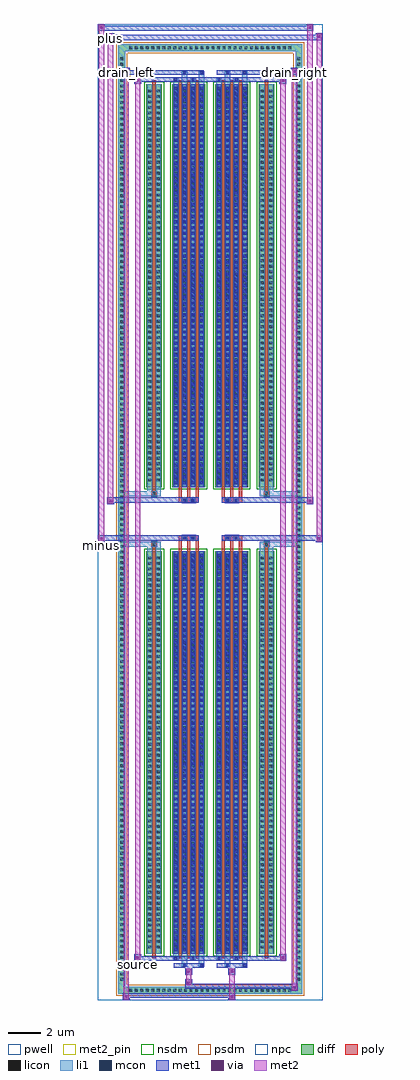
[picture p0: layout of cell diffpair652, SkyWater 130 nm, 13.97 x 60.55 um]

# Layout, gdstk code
import gdstk
lib = gdstk.Library(unit=1e-6, precision=5e-09)
def R(c, l, rs):  # rectangles x0, y0, x1, y1
    for r in rs: c.add(gdstk.rectangle(r[:2], r[2:], *l))
def A(c, l, x, y, w, h, nx, ny, dx, dy):  # array of equal rectangles
    R(c, l, [(x+i*dx, y+j*dy, x+i*dx+w, y+j*dy+h) for i in range(nx) for j in range(ny)])
def P(c, l, *ps):  # polygons
    for p in ps: c.add(gdstk.Polygon(p, *l))
pwell = (64, 44)
diff = (65, 20)
poly = (66, 20)
licon = (66, 44)
li1 = (67, 20)
mcon = (67, 44)
met1 = (68, 20)
via = (68, 44)
met2_pin = (69, 16)
met2 = (69, 20)
nsdm = (93, 44)
psdm = (94, 20)
npc = (95, 20)

diffpair652 = lib.new_cell('diffpair652')
R(diffpair652, pwell, [(-6.97,-29.84,6.97,30.71), (-4.29,-28.03,-0.01,-0.805), (0.01,-28.03,4.29,-0.805), (-4.29,0.805,-0.01,28.03), (0.01,0.805,4.29,28.03)])
A(diffpair652, diff, -5.135, -29.44, 0.41, 0.41, 30, 2, 0.34, 58.47)
A(diffpair652, diff, -5.7, -28.765, 0.41, 0.41, 1, 169, 0, 0.34)
A(diffpair652, diff, 5.29, -28.765, 0.41, 0.41, 1, 169, 0, 0.34)
R(diffpair652, diff, [(-5.135,-29.44,5.135,-29.03), (-5.7,-28.765,-5.29,28.765), (5.29,-28.765,5.7,28.765), (-3.98,-26.985,-3,-1.985), (-2.36,-26.985,-0.32,-1.985), (0.32,-26.985,2.36,-1.985), (3,-26.985,3.98,-1.985), (-3.98,1.985,-3,26.985), (-2.36,1.985,-0.32,26.985), (0.32,1.985,2.36,26.985), (3,1.985,3.98,26.985), (-5.135,29.03,5.135,29.44)])
P(diffpair652, diff, [(5.7,29.44),(-5.7,29.44),(-5.7,-29.03),(-5.29,-29.03),(-5.29,29.03),(5.29,29.03),(5.29,-29.03),(-5.29,-29.03),(-5.7,-29.03),(-5.7,-29.44),(5.7,-29.44)])
A(diffpair652, poly, -1.97, -27.235, 0.2, 25.5, 3, 2, 0.53, 28.97)
A(diffpair652, poly, 0.71, -27.235, 0.2, 25.5, 3, 2, 0.53, 28.97)
A(diffpair652, poly, -1.97, -1.735, 0.2, 0.4, 3, 2, 0.53, 3.07)
A(diffpair652, poly, 0.71, -1.735, 0.2, 0.4, 3, 2, 0.53, 3.07)
R(diffpair652, poly, [(-3.59,-27.235,-3.39,-1.735), (3.39,-27.235,3.59,-1.735), (-3.655,-1.735,-3.325,-1.405), (-3.655,-1.735,-3.325,-1.405), (3.325,-1.735,3.655,-1.405), (3.325,-1.735,3.655,-1.405), (-1.97,-1.335,-0.71,-1.005), (-1.755,-1.335,-1.425,-1.005), (-1.255,-1.335,-0.925,-1.005), (0.71,-1.335,1.97,-1.005), (0.925,-1.335,1.255,-1.005), (1.425,-1.335,1.755,-1.005), (-1.97,1.005,-0.71,1.335), (-1.755,1.005,-1.425,1.335), (-1.255,1.005,-0.925,1.335), (0.71,1.005,1.97,1.335), (0.925,1.005,1.255,1.335), (1.425,1.005,1.755,1.335), (-3.655,1.405,-3.325,1.735), (-3.655,1.405,-3.325,1.735), (3.325,1.405,3.655,1.735), (3.325,1.405,3.655,1.735), (-3.59,1.735,-3.39,27.235), (3.39,1.735,3.59,27.235)])
A(diffpair652, licon, -5.015, -29.32, 0.17, 0.17, 30, 2, 0.34, 58.47)
A(diffpair652, licon, -5.58, -28.645, 0.17, 0.17, 1, 169, 0, 0.34)
A(diffpair652, licon, 5.41, -28.645, 0.17, 0.17, 1, 169, 0, 0.34)
A(diffpair652, licon, -3.84, -26.64, 0.17, 0.17, 1, 72, 0, 0.34)
A(diffpair652, licon, -3.31, -26.64, 0.17, 0.17, 1, 72, 0, 0.34)
A(diffpair652, licon, -2.22, -26.64, 0.17, 0.17, 4, 72, 0.53, 0.34)
A(diffpair652, licon, 0.46, -26.64, 0.17, 0.17, 4, 72, 0.53, 0.34)
A(diffpair652, licon, 3.14, -26.64, 0.17, 0.17, 1, 72, 0, 0.34)
A(diffpair652, licon, 3.67, -26.64, 0.17, 0.17, 1, 72, 0, 0.34)
A(diffpair652, licon, -3.84, 2.33, 0.17, 0.17, 1, 72, 0, 0.34)
A(diffpair652, licon, -3.31, 2.33, 0.17, 0.17, 1, 72, 0, 0.34)
A(diffpair652, licon, -2.22, 2.33, 0.17, 0.17, 4, 72, 0.53, 0.34)
A(diffpair652, licon, 0.46, 2.33, 0.17, 0.17, 4, 72, 0.53, 0.34)
A(diffpair652, licon, 3.14, 2.33, 0.17, 0.17, 1, 72, 0, 0.34)
A(diffpair652, licon, 3.67, 2.33, 0.17, 0.17, 1, 72, 0, 0.34)
R(diffpair652, licon, [(-3.575,-1.655,-3.405,-1.485), (3.405,-1.655,3.575,-1.485), (-1.675,-1.255,-1.505,-1.085), (-1.175,-1.255,-1.005,-1.085), (1.005,-1.255,1.175,-1.085), (1.505,-1.255,1.675,-1.085), (-1.675,1.085,-1.505,1.255), (-1.175,1.085,-1.005,1.255), (1.005,1.085,1.175,1.255), (1.505,1.085,1.675,1.255), (-3.575,1.485,-3.405,1.655), (3.405,1.485,3.575,1.655)])
A(diffpair652, li1, -5.095, -29.4, 0.33, 0.33, 30, 2, 0.34, 58.47)
A(diffpair652, li1, -5.66, -28.725, 0.33, 0.33, 1, 169, 0, 0.34)
A(diffpair652, li1, 5.33, -28.725, 0.33, 0.33, 1, 169, 0, 0.34)
A(diffpair652, li1, -2.3, -26.985, 0.33, 25, 4, 2, 0.53, 28.97)
A(diffpair652, li1, 0.38, -26.985, 0.33, 25, 4, 2, 0.53, 28.97)
A(diffpair652, li1, -2.22, -26.81, 0.17, 0.17, 4, 69, 0.53, 0.36)
A(diffpair652, li1, -2.22, -26.81, 0.17, 24.65, 4, 2, 0.53, 28.97)
A(diffpair652, li1, 0.46, -26.81, 0.17, 0.17, 4, 69, 0.53, 0.36)
A(diffpair652, li1, 0.46, -26.81, 0.17, 24.65, 4, 2, 0.53, 28.97)
A(diffpair652, li1, -3.92, -26.72, 0.33, 0.33, 1, 72, 0, 0.34)
A(diffpair652, li1, -3.39, -26.72, 0.33, 0.33, 1, 72, 0, 0.34)
A(diffpair652, li1, -2.3, -26.72, 0.33, 0.33, 4, 72, 0.53, 0.34)
A(diffpair652, li1, 0.38, -26.72, 0.33, 0.33, 4, 72, 0.53, 0.34)
A(diffpair652, li1, 3.06, -26.72, 0.33, 0.33, 1, 72, 0, 0.34)
A(diffpair652, li1, 3.59, -26.72, 0.33, 0.33, 1, 72, 0, 0.34)
A(diffpair652, li1, -2.22, 2.16, 0.17, 0.17, 4, 69, 0.53, 0.36)
A(diffpair652, li1, 0.46, 2.16, 0.17, 0.17, 4, 69, 0.53, 0.36)
A(diffpair652, li1, -3.92, 2.25, 0.33, 0.33, 1, 72, 0, 0.34)
A(diffpair652, li1, -3.39, 2.25, 0.33, 0.33, 1, 72, 0, 0.34)
A(diffpair652, li1, -2.3, 2.25, 0.33, 0.33, 4, 72, 0.53, 0.34)
A(diffpair652, li1, 0.38, 2.25, 0.33, 0.33, 4, 72, 0.53, 0.34)
A(diffpair652, li1, 3.06, 2.25, 0.33, 0.33, 1, 72, 0, 0.34)
A(diffpair652, li1, 3.59, 2.25, 0.33, 0.33, 1, 72, 0, 0.34)
R(diffpair652, li1, [(-5.7,-29.44,-5.29,-29.03), (-5.7,-29.44,-5.29,-29.03), (-5.29,-29.44,5.29,-29.03), (5.29,-29.44,5.7,-29.03), (5.29,-29.44,5.7,-29.03), (-5.7,-29.03,-5.29,29.03), (5.29,-29.03,5.7,29.03), (-1.77,-27.79,-1.44,-26.985), (-1.69,-27.79,-1.52,-27.62), (-0.71,-27.79,-0.38,-26.985), (-0.63,-27.79,-0.46,-27.62), (0.91,-27.79,1.24,-26.985), (0.99,-27.79,1.16,-27.62), (1.97,-27.79,2.3,-26.985), (2.05,-27.79,2.22,-27.62), (-2.3,-27.36,-1.97,-26.985), (-2.22,-27.36,-2.05,-27.19), (-1.24,-27.36,-0.91,-26.985), (-1.16,-27.36,-0.99,-27.19), (0.38,-27.36,0.71,-26.985), (0.46,-27.36,0.63,-27.19), (1.44,-27.36,1.77,-26.985), (1.52,-27.36,1.69,-27.19), (-3.92,-26.985,-3.59,-1.985), (-3.39,-26.985,-3.06,-1.985), (3.06,-26.985,3.39,-1.985), (3.59,-26.985,3.92,-1.985), (-3.92,-1.985,-3.59,-1.405), (-3.39,-1.985,-3.06,-1.405), (3.06,-1.985,3.39,-1.405), (3.59,-1.985,3.92,-1.405), (-5.7,-1.735,-3.655,-1.405), (-3.92,-1.735,-3.655,-1.405), (-3.655,-1.735,-3.325,-1.405), (-3.325,-1.735,-3.06,-1.405), (3.06,-1.735,3.325,-1.405), (3.325,-1.735,3.655,-1.405), (3.325,-1.735,5.7,-1.405), (3.655,-1.735,3.92,-1.405), (-1.755,-1.335,-1.425,-1.005), (-1.255,-1.335,-0.925,-1.005), (0.925,-1.335,1.255,-1.005), (1.425,-1.335,1.755,-1.005), (-1.755,1.005,-1.425,1.335), (-1.255,1.005,-0.925,1.335), (0.925,1.005,1.255,1.335), (1.425,1.005,1.755,1.335), (-5.7,1.405,-3.655,1.735), (-3.92,1.405,-3.655,1.735), (-3.92,1.405,-3.59,1.985), (-3.655,1.405,-3.325,1.735), (-3.39,1.405,-3.06,1.985), (-3.325,1.405,-3.06,1.735), (3.06,1.405,3.325,1.735), (3.06,1.405,3.39,1.985), (3.325,1.405,3.655,1.735), (3.325,1.405,5.7,1.735), (3.59,1.405,3.92,1.985), (3.655,1.405,3.92,1.735), (-3.92,1.985,-3.59,26.985), (-3.39,1.985,-3.06,26.985), (3.06,1.985,3.39,26.985), (3.59,1.985,3.92,26.985), (-2.3,26.985,-1.97,27.36), (-1.77,26.985,-1.44,27.79), (-1.24,26.985,-0.91,27.36), (-0.71,26.985,-0.38,27.79), (0.38,26.985,0.71,27.36), (0.91,26.985,1.24,27.79), (1.44,26.985,1.77,27.36), (1.97,26.985,2.3,27.79), (-2.22,27.19,-2.05,27.36), (-1.16,27.19,-0.99,27.36), (0.46,27.19,0.63,27.36), (1.52,27.19,1.69,27.36), (-1.69,27.62,-1.52,27.79), (-0.63,27.62,-0.46,27.79), (0.99,27.62,1.16,27.79), (2.05,27.62,2.22,27.79), (-5.7,29.03,-5.29,29.44), (-5.7,29.03,-5.29,29.44), (-5.29,29.03,5.29,29.44), (5.29,29.03,5.7,29.44), (5.29,29.03,5.7,29.44)])
A(diffpair652, mcon, -2.22, -26.81, 0.17, 0.17, 4, 69, 0.53, 0.36)
A(diffpair652, mcon, 0.46, -26.81, 0.17, 0.17, 4, 69, 0.53, 0.36)
A(diffpair652, mcon, -2.22, 2.16, 0.17, 0.17, 4, 69, 0.53, 0.36)
A(diffpair652, mcon, 0.46, 2.16, 0.17, 0.17, 4, 69, 0.53, 0.36)
R(diffpair652, mcon, [(-1.69,-27.79,-1.52,-27.62), (-0.63,-27.79,-0.46,-27.62), (0.99,-27.79,1.16,-27.62), (2.05,-27.79,2.22,-27.62), (-2.22,-27.36,-2.05,-27.19), (-1.16,-27.36,-0.99,-27.19), (0.46,-27.36,0.63,-27.19), (1.52,-27.36,1.69,-27.19), (-1.675,-1.255,-1.505,-1.085), (-1.175,-1.255,-1.005,-1.085), (1.005,-1.255,1.175,-1.085), (1.505,-1.255,1.675,-1.085), (-1.675,1.085,-1.505,1.255), (-1.175,1.085,-1.005,1.255), (1.005,1.085,1.175,1.255), (1.505,1.085,1.675,1.255), (-2.22,27.19,-2.05,27.36), (-1.16,27.19,-0.99,27.36), (0.46,27.19,0.63,27.36), (1.52,27.19,1.69,27.36), (-1.69,27.62,-1.52,27.79), (-0.63,27.62,-0.46,27.79), (0.99,27.62,1.16,27.79), (2.05,27.62,2.22,27.79)])
A(diffpair652, met1, -2.28, -26.985, 0.29, 25, 4, 2, 0.53, 28.97)
A(diffpair652, met1, 0.4, -26.985, 0.29, 25, 4, 2, 0.53, 28.97)
A(diffpair652, met1, -2.28, -26.87, 0.29, 0.29, 4, 69, 0.53, 0.36)
A(diffpair652, met1, 0.4, -26.87, 0.29, 0.29, 4, 69, 0.53, 0.36)
A(diffpair652, met1, -2.28, 2.1, 0.29, 0.29, 4, 69, 0.53, 0.36)
A(diffpair652, met1, 0.4, 2.1, 0.29, 0.29, 4, 69, 0.53, 0.36)
R(diffpair652, met1, [(-5.43,-29.84,-5,-29.41), (1.125,-29.84,1.555,-29.41), (-5.43,-29.7,1.555,-29.41), (5,-29.27,5.43,-28.84), (-1.555,-29.13,5.43,-28.84), (-1.555,-28.99,-1.125,-28.56), (-1.555,-28.28,-1.125,-27.85), (1.125,-28.28,1.555,-27.85), (-2.28,-27.85,-0.4,-27.56), (-1.75,-27.85,-1.46,-27.56), (-0.69,-27.85,-0.4,-27.56), (0.4,-27.85,2.28,-27.56), (0.93,-27.85,1.22,-27.56), (1.99,-27.85,2.28,-27.56), (-4.72,-27.42,-4.29,-26.99), (-4.72,-27.42,-2.28,-27.13), (-2.28,-27.42,-1.99,-27.13), (-2.28,-27.42,-0.4,-27.13), (-1.22,-27.42,-0.93,-27.13), (-0.4,-27.42,0.4,-27.13), (0.4,-27.42,0.69,-27.13), (0.4,-27.42,2.28,-27.13), (1.46,-27.42,1.75,-27.13), (2.28,-27.42,4.72,-27.13), (4.29,-27.42,4.72,-26.99), (-6.97,-1.435,-6.54,-1.005), (6.54,-1.435,6.97,-1.005), (-6.97,-1.335,-0.71,-1.005), (-1.97,-1.335,-0.71,-1.005), (0.71,-1.335,1.97,-1.005), (0.71,-1.335,6.97,-1.005), (-1.735,-1.315,-1.445,-1.025), (-1.235,-1.315,-0.945,-1.025), (0.945,-1.315,1.235,-1.025), (1.445,-1.315,1.735,-1.025), (-6.4,0.905,-5.97,1.335), (5.97,0.905,6.4,1.335), (-6.4,1.005,-1.97,1.335), (-1.97,1.005,-0.71,1.335), (0.71,1.005,1.97,1.335), (1.97,1.005,6.4,1.335), (-1.735,1.025,-1.445,1.315), (-1.235,1.025,-0.945,1.315), (0.945,1.025,1.235,1.315), (1.445,1.025,1.735,1.315), (-4.72,26.99,-4.29,27.42), (4.29,26.99,4.72,27.42), (-4.72,27.13,-2.28,27.42), (-2.28,27.13,-1.99,27.42), (-2.28,27.13,-0.4,27.42), (-1.22,27.13,-0.93,27.42), (-0.4,27.13,0.4,27.42), (0.4,27.13,0.69,27.42), (0.4,27.13,2.28,27.42), (1.46,27.13,1.75,27.42), (2.28,27.13,4.72,27.42), (-5.43,27.56,-5,27.99), (-5.43,27.56,-2.28,27.85), (-2.28,27.56,-0.4,27.85), (-1.75,27.56,-1.46,27.85), (-0.69,27.56,-0.4,27.85), (0.4,27.56,2.28,27.85), (0.93,27.56,1.22,27.85), (1.99,27.56,2.28,27.85), (2.28,27.56,5.43,27.85), (5,27.56,5.43,27.99), (-6.4,29.71,-5.97,30.14), (-6.4,29.71,-4.29,30.04), (-4.29,29.71,4.29,30.04), (4.29,29.71,6.97,30.04), (6.54,29.71,6.97,30.14), (-6.97,30.28,-6.54,30.71), (-6.97,30.28,-4.29,30.61), (-4.29,30.28,4.29,30.61), (4.29,30.28,6.4,30.61), (5.97,30.28,6.4,30.71)])
R(diffpair652, via, [(-5.29,-29.7,-5.14,-29.55), (1.265,-29.7,1.415,-29.55), (5.14,-29.13,5.29,-28.98), (-1.415,-28.85,-1.265,-28.7), (-1.415,-28.14,-1.265,-27.99), (1.265,-28.14,1.415,-27.99), (-4.58,-27.28,-4.43,-27.13), (4.43,-27.28,4.58,-27.13), (-6.83,-1.295,-6.68,-1.145), (6.68,-1.295,6.83,-1.145), (-6.26,1.045,-6.11,1.195), (6.11,1.045,6.26,1.195), (-4.58,27.13,-4.43,27.28), (4.43,27.13,4.58,27.28), (-5.29,27.7,-5.14,27.85), (5.14,27.7,5.29,27.85), (-6.26,29.85,-6.11,30), (6.68,29.85,6.83,30), (-6.83,30.42,-6.68,30.57), (6.11,30.42,6.26,30.57)])
R(diffpair652, met2_pin, [(-4.755,-27.87,-4.255,-27.37), (-7.005,-1.885,-6.505,-1.385), (-5.465,27.44,-4.965,27.94), (4.965,27.44,5.465,27.94), (-6.435,29.59,-5.935,30.09)])
R(diffpair652, met2, [(-5.38,-29.79,-5.05,-29.46), (-5.38,-29.79,-5.05,27.94), (1.175,-29.79,1.505,-29.46), (1.175,-29.46,1.505,-28.23), (5.05,-29.22,5.38,-28.89), (5.05,-29.22,5.38,27.94), (-1.505,-28.94,-1.175,-28.61), (-1.505,-28.61,-1.175,-28.23), (-1.505,-28.23,-1.175,-27.9), (1.175,-28.23,1.505,-27.9), (-4.67,-27.37,-4.34,-27.04), (-4.67,-27.37,-4.34,27.37), (4.34,-27.37,4.67,-27.04), (4.34,-27.37,4.67,27.37), (-6.92,-1.385,-6.59,-1.055), (-6.92,-1.385,-6.59,30.66), (6.59,-1.385,6.92,-1.055), (6.59,-1.385,6.92,30.09), (-6.35,0.955,-6.02,1.285), (-6.35,0.955,-6.02,30.09), (6.02,0.955,6.35,1.285), (6.02,0.955,6.35,30.66), (-4.67,27.04,-4.34,27.37), (4.34,27.04,4.67,27.37), (-5.38,27.61,-5.05,27.94), (5.05,27.61,5.38,27.94), (-6.35,29.76,-6.02,30.09), (6.59,29.76,6.92,30.09), (-6.92,30.33,-6.59,30.66), (6.02,30.33,6.35,30.66)])
P(diffpair652, met2, [(6.92,-1.385),(6.92,-1.385),(6.92,-1.055),(6.92,-1.055)],
  [(6.92,29.76),(6.92,29.76),(6.92,30.09),(6.92,30.09)],
  [(-6.59,-1.385),(-6.59,-1.385),(-6.59,-1.055),(-6.59,-1.055)],
  [(-6.59,30.33),(-6.59,30.33),(-6.59,30.66),(-6.59,30.66)],
  [(6.35,0.955),(6.35,0.955),(6.35,1.285),(6.35,1.285)],
  [(6.35,30.33),(6.35,30.33),(6.35,30.66),(6.35,30.66)],
  [(-6.02,0.955),(-6.02,0.955),(-6.02,1.285),(-6.02,1.285)],
  [(-6.02,29.76),(-6.02,29.76),(-6.02,30.09),(-6.02,30.09)],
  [(-5.05,-29.79),(-5.05,-29.79),(-5.05,-29.46),(-5.05,-29.46)],
  [(-5.05,27.61),(-5.05,27.61),(-5.05,27.94),(-5.05,27.94)],
  [(5.38,-29.22),(5.38,-29.22),(5.38,-28.89),(5.38,-28.89)],
  [(5.38,27.61),(5.38,27.61),(5.38,27.94),(5.38,27.94)],
  [(-4.34,-27.37),(-4.34,-27.37),(-4.34,-27.04),(-4.34,-27.04)],
  [(-4.34,27.04),(-4.34,27.04),(-4.34,27.37),(-4.34,27.37)],
  [(4.67,-27.37),(4.67,-27.37),(4.67,-27.04),(4.67,-27.04)],
  [(4.67,27.04),(4.67,27.04),(4.67,27.37),(4.67,27.37)])
R(diffpair652, nsdm, [(-4.11,-27.115,-2.87,-1.855), (-2.49,-27.115,-0.19,-1.855), (0.19,-27.115,2.49,-1.855), (2.87,-27.115,4.11,-1.855), (-4.11,1.855,-2.87,27.115), (-2.49,1.855,-0.19,27.115), (0.19,1.855,2.49,27.115), (2.87,1.855,4.11,27.115)])
P(diffpair652, psdm, [(5.83,29.57),(-5.83,29.57),(-5.83,-28.9),(-5.16,-28.9),(-5.16,28.9),(5.16,28.9),(5.16,-28.9),(-5.16,-28.9),(-5.83,-28.9),(-5.83,-29.57),(5.83,-29.57)])
R(diffpair652, npc, [(-3.675,-1.755,-3.305,-1.385), (3.305,-1.755,3.675,-1.385), (-1.775,-1.355,-1.405,-0.985), (-1.775,-1.355,-0.905,-0.985), (-1.775,-1.355,-0.905,-0.985), (-1.275,-1.355,-0.905,-0.985), (0.905,-1.355,1.275,-0.985), (0.905,-1.355,1.775,-0.985), (0.905,-1.355,1.775,-0.985), (1.405,-1.355,1.775,-0.985), (-1.775,0.985,-1.405,1.355), (-1.775,0.985,-0.905,1.355), (-1.775,0.985,-0.905,1.355), (-1.275,0.985,-0.905,1.355), (0.905,0.985,1.275,1.355), (0.905,0.985,1.775,1.355), (0.905,0.985,1.775,1.355), (1.405,0.985,1.775,1.355), (-3.675,1.385,-3.305,1.755), (3.305,1.385,3.675,1.755)])
diffpair652.add(gdstk.Label('minus', (-6.755,-1.635), layer=69, texttype=5))
diffpair652.add(gdstk.Label('drain_right', (5.215,27.69), layer=69, texttype=5))
diffpair652.add(gdstk.Label('drain_left', (-5.215,27.69), layer=69, texttype=5))
diffpair652.add(gdstk.Label('source', (-4.505,-27.62), layer=69, texttype=5))
diffpair652.add(gdstk.Label('plus', (-6.185,29.84), layer=69, texttype=5))

lib.write_gds('diffpair652.gds')
